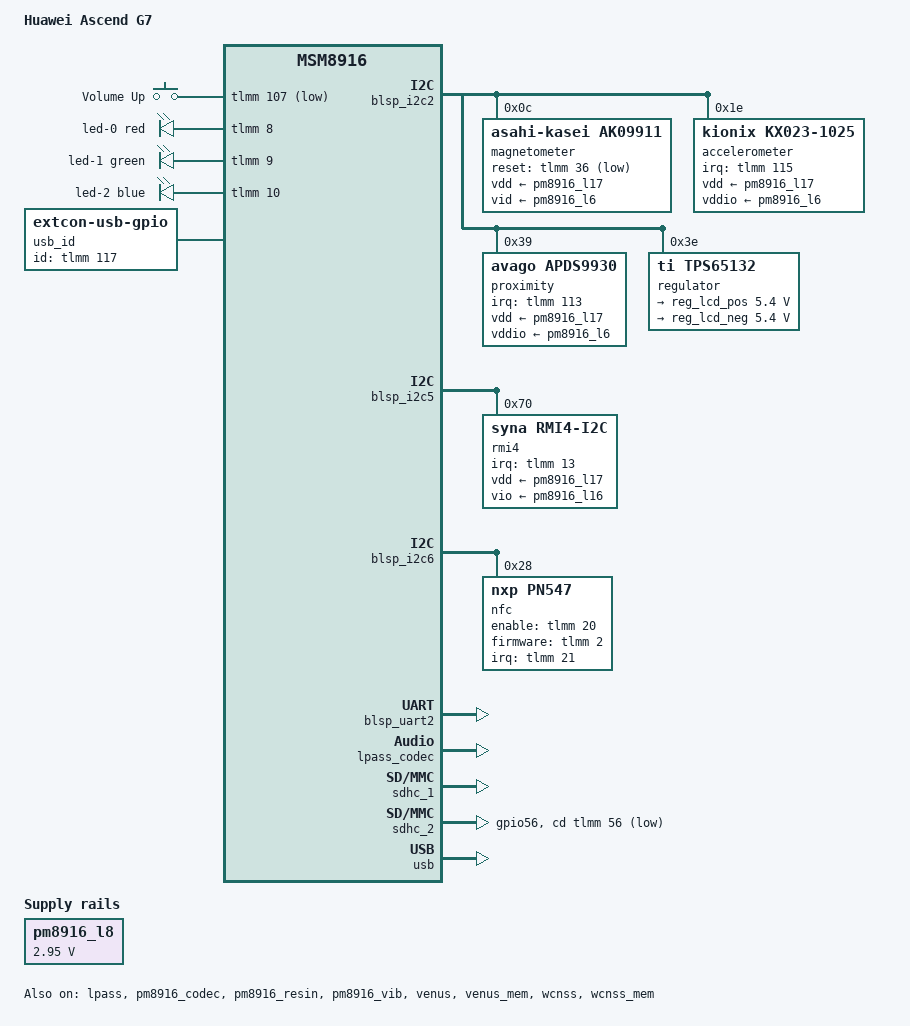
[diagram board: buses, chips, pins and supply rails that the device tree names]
// SPDX-License-Identifier: GPL-2.0-only
/*
 * Copyright (C) 2021 Stephan Gerhold
 */

/dts-v1/;

#include "msm8916-pm8916.dtsi"
#include <dt-bindings/gpio/gpio.h>
#include <dt-bindings/input/input.h>
#include <dt-bindings/interrupt-controller/irq.h>
#include <dt-bindings/leds/common.h>
#include <dt-bindings/sound/apq8016-lpass.h>

/*
 * Note: The original firmware from Huawei can only boot 32-bit kernels.
 * To boot this device tree using arm64 it is necessary to flash 64-bit TZ/HYP
 * firmware (e.g. taken from the DragonBoard 410c).
 * See https://wiki.postmarketos.org/wiki/Huawei_Ascend_G7_(huawei-g7)
 * for suggested installation instructions.
 */

/ {
	model = "Huawei Ascend G7";
	compatible = "huawei,g7", "qcom,msm8916";
	chassis-type = "handset";

	aliases {
		mmc0 = &sdhc_1; /* eMMC */
		mmc1 = &sdhc_2; /* SD card */
		serial0 = &blsp_uart2;
	};

	chosen {
		stdout-path = "serial0";
	};

	gpio-keys {
		compatible = "gpio-keys";

		pinctrl-names = "default";
		pinctrl-0 = <&gpio_keys_default>;

		label = "GPIO Buttons";

		button-volume-up {
			label = "Volume Up";
			gpios = <&tlmm 107 GPIO_ACTIVE_LOW>;
			linux,code = <KEY_VOLUMEUP>;
		};
	};

	leds {
		compatible = "gpio-leds";

		pinctrl-names = "default";
		pinctrl-0 = <&gpio_leds_default>;

		led-0 {
			gpios = <&tlmm 8 GPIO_ACTIVE_HIGH>;
			color = <LED_COLOR_ID_RED>;
			default-state = "off";
			function = LED_FUNCTION_INDICATOR;
		};

		led-1 {
			gpios = <&tlmm 9 GPIO_ACTIVE_HIGH>;
			color = <LED_COLOR_ID_GREEN>;
			default-state = "off";
			function = LED_FUNCTION_INDICATOR;
		};

		led-2 {
			gpios = <&tlmm 10 GPIO_ACTIVE_HIGH>;
			color = <LED_COLOR_ID_BLUE>;
			default-state = "off";
			function = LED_FUNCTION_INDICATOR;
		};
	};

	usb_id: usb-id {
		compatible = "linux,extcon-usb-gpio";
		id-gpios = <&tlmm 117 GPIO_ACTIVE_HIGH>;
		pinctrl-names = "default";
		pinctrl-0 = <&usb_id_default>;
	};
};

&blsp_i2c2 {
	status = "okay";

	magnetometer@c {
		compatible = "asahi-kasei,ak09911";
		reg = <0x0c>;

		vdd-supply = <&pm8916_l17>;
		vid-supply = <&pm8916_l6>;

		reset-gpios = <&tlmm 36 GPIO_ACTIVE_LOW>;

		pinctrl-names = "default";
		pinctrl-0 = <&mag_reset_default>;
	};

	accelerometer@1e {
		compatible = "kionix,kx023-1025";
		reg = <0x1e>;

		interrupt-parent = <&tlmm>;
		interrupts = <115 IRQ_TYPE_EDGE_RISING>;

		vdd-supply = <&pm8916_l17>;
		vddio-supply = <&pm8916_l6>;

		pinctrl-names = "default";
		pinctrl-0 = <&accel_irq_default>;

		mount-matrix = "-1", "0", "0",
				"0", "1", "0",
				"0", "0", "1";
	};

	proximity@39 {
		compatible = "avago,apds9930";
		reg = <0x39>;

		interrupt-parent = <&tlmm>;
		interrupts = <113 IRQ_TYPE_EDGE_FALLING>;

		vdd-supply = <&pm8916_l17>;
		vddio-supply = <&pm8916_l6>;

		led-max-microamp = <100000>;
		amstaos,proximity-diodes = <1>;

		pinctrl-names = "default";
		pinctrl-0 = <&prox_irq_default>;
	};

	regulator@3e {
		compatible = "ti,tps65132";
		reg = <0x3e>;

		pinctrl-names = "default";
		pinctrl-0 = <&reg_lcd_en_default>;

		reg_lcd_pos: outp {
			regulator-name = "outp";
			regulator-min-microvolt = <5400000>;
			regulator-max-microvolt = <5400000>;
			enable-gpios = <&tlmm 97 GPIO_ACTIVE_HIGH>;
			regulator-active-discharge = <1>;
		};

		reg_lcd_neg: outn {
			regulator-name = "outn";
			regulator-min-microvolt = <5400000>;
			regulator-max-microvolt = <5400000>;
			enable-gpios = <&tlmm 32 GPIO_ACTIVE_HIGH>;
			regulator-active-discharge = <1>;
		};
	};
};

&blsp_i2c5 {
	status = "okay";

	rmi4@70 {
		compatible = "syna,rmi4-i2c";
		reg = <0x70>;
		#address-cells = <1>;
		#size-cells = <0>;

		interrupt-parent = <&tlmm>;
		interrupts = <13 IRQ_TYPE_EDGE_FALLING>;

		vdd-supply = <&pm8916_l17>;
		vio-supply = <&pm8916_l16>;

		pinctrl-names = "default";
		pinctrl-0 = <&ts_irq_default>;

		syna,startup-delay-ms = <100>;

		rmi4-f01@1 {
			reg = <0x1>;
			syna,nosleep-mode = <1>; /* Allow sleeping */
		};

		rmi4-f11@11 {
			reg = <0x11>;
			syna,sensor-type = <1>; /* Touchscreen */
		};
	};
};

&blsp_i2c6 {
	status = "okay";

	nfc@28 {
		compatible = "nxp,pn547", "nxp,nxp-nci-i2c";
		reg = <0x28>;

		interrupt-parent = <&tlmm>;
		interrupts = <21 IRQ_TYPE_EDGE_RISING>;

		enable-gpios = <&tlmm 20 GPIO_ACTIVE_HIGH>;
		firmware-gpios = <&tlmm 2 GPIO_ACTIVE_HIGH>;

		pinctrl-names = "default";
		pinctrl-0 = <&nfc_default>;
	};
};

&blsp_uart2 {
	status = "okay";
};

&lpass {
	status = "okay";
};

&lpass_codec {
	status = "okay";
};

&pm8916_codec {
	status = "okay";
	qcom,micbias-lvl = <2800>;
	qcom,mbhc-vthreshold-low = <75 150 237 450 500>;
	qcom,mbhc-vthreshold-high = <75 150 237 450 500>;
	qcom,hphl-jack-type-normally-open;
};

&pm8916_l8 {
	regulator-min-microvolt = <2950000>;
	regulator-max-microvolt = <2950000>;
};

&pm8916_resin {
	status = "okay";
	linux,code = <KEY_VOLUMEDOWN>;
};

&pm8916_rpm_regulators {
	pm8916_l16: l16 {
		regulator-min-microvolt = <1800000>;
		regulator-max-microvolt = <1800000>;
	};

	pm8916_l17: l17 {
		regulator-min-microvolt = <2850000>;
		regulator-max-microvolt = <2850000>;
	};
};

&pm8916_vib {
	status = "okay";
};

&sdhc_1 {
	status = "okay";
};

&sdhc_2 {
	status = "okay";

	pinctrl-names = "default", "sleep";
	pinctrl-0 = <&sdc2_default &sdc2_cd_default>;
	pinctrl-1 = <&sdc2_sleep &sdc2_cd_default>;

	/*
	 * The Huawei device tree sets cd-gpios = <&tlmm 38 GPIO_ACTIVE_HIGH>.
	 * However, gpio38 does not change its state when inserting/removing the
	 * SD card, it's just low all the time. The Huawei kernel seems to use
	 * polling for SD card detection instead.
	 *
	 * However, looking closer at the GPIO debug output it turns out that
	 * gpio56 switches its state when inserting/removing the SD card.
	 * It behaves just like gpio38 normally does. Usually GPIO56 is used as
	 * "UIM2_PRESENT", i.e. to check if a second SIM card is inserted.
	 * Maybe Huawei decided to replace the second SIM card slot with the
	 * SD card slot and forgot to re-route to gpio38.
	 */
	cd-gpios = <&tlmm 56 GPIO_ACTIVE_LOW>;
};

&sound {
	status = "okay";

	model = "msm8916";
	audio-routing =
		"AMIC1", "MIC BIAS External1",
		"AMIC2", "MIC BIAS External2",
		"AMIC3", "MIC BIAS External1";

	pinctrl-names = "default", "sleep";
	pinctrl-0 = <&cdc_pdm_default>;
	pinctrl-1 = <&cdc_pdm_sleep>;

	primary-dai-link {
		link-name = "WCD";
		cpu {
			sound-dai = <&lpass MI2S_PRIMARY>;
		};
		codec {
			sound-dai = <&lpass_codec 0>, <&pm8916_codec 0>;
		};
	};

	tertiary-dai-link {
		link-name = "WCD-Capture";
		cpu {
			sound-dai = <&lpass MI2S_TERTIARY>;
		};
		codec {
			sound-dai = <&lpass_codec 1>, <&pm8916_codec 1>;
		};
	};
};

&usb {
	status = "okay";
	extcon = <&usb_id>, <&usb_id>;
};

&usb_hs_phy {
	extcon = <&usb_id>;
};

&venus {
	status = "okay";
};

&venus_mem {
	status = "okay";
};

&wcnss {
	status = "okay";
};

&wcnss_iris {
	compatible = "qcom,wcn3620";
};

&wcnss_mem {
	status = "okay";
};

&tlmm {
	accel_irq_default: accel-irq-default-state {
		pins = "gpio115";
		function = "gpio";

		drive-strength = <2>;
		bias-disable;
	};

	gpio_keys_default: gpio-keys-default-state {
		pins = "gpio107";
		function = "gpio";

		drive-strength = <2>;
		bias-pull-up;
	};

	gpio_leds_default: gpio-leds-default-state {
		pins = "gpio8", "gpio9", "gpio10";
		function = "gpio";

		drive-strength = <2>;
		bias-disable;
	};

	nfc_default: nfc-default-state {
		pins = "gpio2", "gpio20", "gpio21";
		function = "gpio";

		drive-strength = <2>;
		bias-disable;
	};

	mag_reset_default: mag-reset-default-state {
		pins = "gpio36";
		function = "gpio";

		drive-strength = <2>;
		bias-disable;
	};

	prox_irq_default: prox-irq-default-state {
		pins = "gpio113";
		function = "gpio";

		drive-strength = <2>;
		bias-disable;
	};

	reg_lcd_en_default: reg-lcd-en-default-state {
		pins = "gpio32", "gpio97";
		function = "gpio";

		drive-strength = <2>;
		bias-disable;
	};

	sdc2_cd_default: sdc2-cd-default-state {
		pins = "gpio56";
		function = "gpio";

		drive-strength = <2>;
		bias-disable;
	};

	ts_irq_default: ts-irq-default-state {
		pins = "gpio13";
		function = "gpio";

		drive-strength = <2>;
		bias-disable;
	};

	usb_id_default: usb-id-default-state {
		pins = "gpio117";
		function = "gpio";

		drive-strength = <8>;
		bias-pull-up;
	};
};
